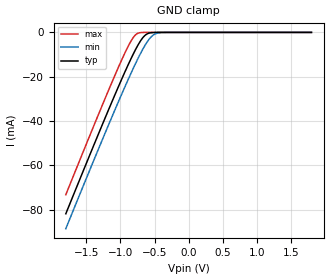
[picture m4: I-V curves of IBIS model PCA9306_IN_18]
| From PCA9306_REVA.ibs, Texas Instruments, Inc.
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[Model]   PCA9306_IN_18
Model_type  Input
Vinl=0.6
Vinh=1.95
| variable   typ   min   max
C_comp   5.86pF   4.79pF   7.43pF
[Temperature Range]   40   100   -40
| Ambient temperature   25   85   -40
[Voltage range]   1.8   1.65   1.95
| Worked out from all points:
|   GND clamp passes 1 mA (typ) near -0.62 V on its own axis
[GND Clamp]
| PCA9306_IN_18
|   Voltage   I(typ)   I(min)   I(max)
-1.8V     -81.79mA   -88.5mA    -73.19mA
-1.17V    -34.63mA   -41.45mA   -25.82mA
-990mV    -21.72mA   -28.49mA   -13.02mA
-870mV    -13.52mA   -20.14mA   -5.318mA
-820mV    -10.3mA    -16.78mA   -2.695mA
-775mV    -7.564mA   -13.84mA   -1.024mA
-675mV    -2.531mA   -7.765mA   -29.79uA
-610mV    -711.8uA   -4.402mA   -2.004uA
-525mV    -70.21uA   -1.354mA   -57.44nA
-455mV    -8.281uA   -320.7uA   -3.133nA
-345mV    -270.4nA   -21.14uA   -35.62pA
1.8V      36.2pA     2.812nA    28.26pA
